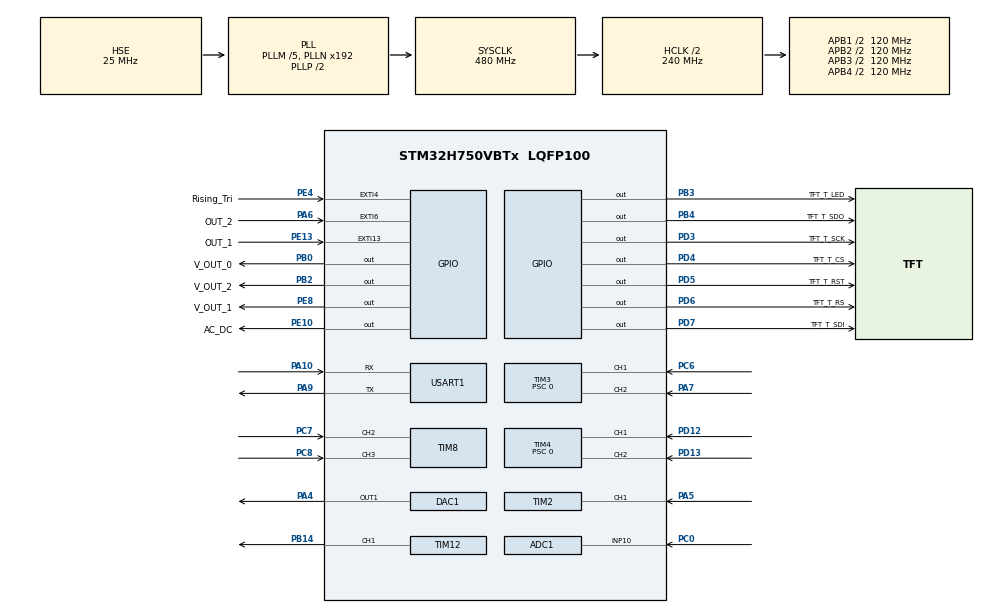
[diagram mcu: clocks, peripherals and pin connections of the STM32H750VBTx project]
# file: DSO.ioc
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ADC1.Channel-0\#ChannelRegularConversion=ADC_CHANNEL_10
ADC1.ClockPrescaler=ADC_CLOCK_ASYNC_DIV8
ADC1.ConversionDataManagement=ADC_CONVERSIONDATA_DMA_ONESHOT
ADC1.ExternalTrigConv=ADC_EXTERNALTRIG_T1_TRGO
ADC1.NbrOfConversionFlag=1
ADC1.OffsetNumber-0\#ChannelRegularConversion=ADC_OFFSET_NONE
ADC1.OffsetSignedSaturation-0\#ChannelRegularConversion=DISABLE
ADC1.Rank-0\#ChannelRegularConversion=1
ADC1.Resolution=ADC_RESOLUTION_14B
ADC1.SamplingTime-0\#ChannelRegularConversion=ADC_SAMPLETIME_8CYCLES_5
ADC1.master=1
CORTEX_M7.default_mode_Activation=1
DAC1.DAC1_OutputBuffer-DAC_OUT1=DAC_OUTPUTBUFFER_DISABLE
DAC1.DAC_Channel-DAC_OUT1=DAC_CHANNEL_1
DAC1.DAC_Trigger-DAC_OUT1=DAC_TRIGGER_NONE
Dma.ADC1.0.Direction=DMA_PERIPH_TO_MEMORY
Dma.ADC1.0.EventEnable=DISABLE
Dma.ADC1.0.FIFOMode=DMA_FIFOMODE_DISABLE
Dma.ADC1.0.Instance=DMA1_Stream1
Dma.ADC1.0.MemDataAlignment=DMA_MDATAALIGN_HALFWORD
Dma.ADC1.0.MemInc=DMA_MINC_ENABLE
Dma.ADC1.0.Mode=DMA_NORMAL
Dma.ADC1.0.PeriphDataAlignment=DMA_PDATAALIGN_HALFWORD
Dma.ADC1.0.PeriphInc=DMA_PINC_DISABLE
Dma.ADC1.0.Polarity=HAL_DMAMUX_REQ_GEN_RISING
Dma.ADC1.0.Priority=DMA_PRIORITY_LOW
Dma.ADC1.0.RequestNumber=1
Dma.ADC1.0.SignalID=NONE
Dma.ADC1.0.SyncEnable=DISABLE
Dma.ADC1.0.SyncPolarity=HAL_DMAMUX_SYNC_NO_EVENT
Dma.ADC1.0.SyncRequestNumber=1
Dma.ADC1.0.SyncSignalID=NONE
Dma.Request0=ADC1
Mcu.Family=STM32H7
Mcu.Name=STM32H750VBTx
Mcu.Package=LQFP100
NVIC.DMA1_Stream1_IRQn=true\:0\:0\:false\:false\:true\:false\:true\:true
NVIC.EXTI15_10_IRQn=true\:0\:0\:false\:false\:true\:true\:true\:true
NVIC.EXTI4_IRQn=true\:0\:0\:false\:false\:true\:true\:true\:true
NVIC.EXTI9_5_IRQn=true\:0\:0\:false\:false\:true\:true\:true\:true
NVIC.PriorityGroup=NVIC_PRIORITYGROUP_4
PA10.Mode=Asynchronous
PA10.Signal=USART1_RX
PA4.Signal=SharedAnalog_PA4
PA5.Signal=S_TIM2_CH1_ETR
PA6.GPIO_Label=OUT_2
PA6.GPIO_ModeDefaultEXTI=GPIO_MODE_IT_FALLING
PA6.GPIO_PuPd=GPIO_PULLUP
PA6.Signal=GPXTI6
PA7.GPIO_PuPd=GPIO_PULLUP
PA7.Signal=S_TIM3_CH2
PA9.Mode=Asynchronous
PA9.Signal=USART1_TX
PB0.GPIO_Label=V_OUT_0
PB0.GPIO_PuPd=GPIO_NOPULL
PB0.Signal=GPIO_Output
PB14.Signal=S_TIM12_CH1
PB2.GPIO_Label=V_OUT_2
PB2.Signal=GPIO_Output
PB3\ (JTDO/TRACESWO).GPIO_Label=TFT_T_LED
PB3\ (JTDO/TRACESWO).Signal=GPIO_Output
PB4\ (NJTRST).GPIO_Label=TFT_T_SDO
PB4\ (NJTRST).Signal=GPIO_Output
PC0.Signal=SharedAnalog_PC0
PC6.GPIO_PuPd=GPIO_PULLUP
PC6.Signal=S_TIM3_CH1
PC7.Signal=S_TIM8_CH2
PC8.Signal=S_TIM8_CH3
PD12.Signal=S_TIM4_CH1
PD13.Signal=S_TIM4_CH2
PD3.GPIO_Label=TFT_T_SCK
PD3.Signal=GPIO_Output
PD4.GPIO_Label=TFT_T_CS
PD4.Signal=GPIO_Output
PD5.GPIO_Label=TFT_T_RST
PD5.Signal=GPIO_Output
PD6.GPIO_Label=TFT_T_RS
PD6.Signal=GPIO_Output
PD7.GPIO_Label=TFT_T_SDI
PD7.Signal=GPIO_Output
PE10.GPIO_Label=AC_DC
PE10.Signal=GPIO_Output
PE13.GPIO_Label=OUT_1
PE13.GPIO_ModeDefaultEXTI=GPIO_MODE_IT_FALLING
PE13.GPIO_PuPd=GPIO_PULLUP
PE13.Signal=GPXTI13
PE4.GPIO_Label=Rising_Tri
PE4.GPIO_ModeDefaultEXTI=GPIO_MODE_IT_RISING
PE4.GPIO_PuPd=GPIO_PULLDOWN
PE4.Signal=GPXTI4
PE8.GPIO_Label=V_OUT_1
PE8.Signal=GPIO_Output
PH0-OSC_IN\ (PH0).Mode=HSE-External-Oscillator
PH0-OSC_IN\ (PH0).Signal=RCC_OSC_IN
PH1-OSC_OUT\ (PH1).Mode=HSE-External-Oscillator
PH1-OSC_OUT\ (PH1).Signal=RCC_OSC_OUT
ProjectManager.HeapSize=0x200
ProjectManager.StackSize=0x400
ProjectManager.TargetToolchain=MDK-ARM V5.32
RCC.ADCFreq_Value=36000000
RCC.APB1Freq_Value=120000000
RCC.APB2Freq_Value=120000000
RCC.APB3Freq_Value=120000000
RCC.APB4Freq_Value=120000000
RCC.CortexFreq_Value=480000000
RCC.D1PPRE=RCC_APB3_DIV2
RCC.D2PPRE1=RCC_APB1_DIV2
RCC.D2PPRE2=RCC_APB2_DIV2
RCC.D3PPRE=RCC_APB4_DIV2
RCC.DIVM1=5
RCC.DIVM2=5
RCC.DIVN1=192
RCC.DIVN2=72
RCC.DIVP2=10
RCC.DIVQ1=5
RCC.HCLKFreq_Value=240000000
RCC.HPRE=RCC_HCLK_DIV2
RCC.PLL2FRACN=0
RCC.PLL3FRACN=0
RCC.PLLFRACN=0
RCC.PLLSourceVirtual=RCC_PLLSOURCE_HSE
RCC.SYSCLKFreq_VALUE=480000000
RCC.SYSCLKSource=RCC_SYSCLKSOURCE_PLLCLK
RCC.USBFreq_Value=192000000
SH.S_TIM12_CH1.0=TIM12_CH1,PWM Generation1 CH1
SH.S_TIM2_CH1_ETR.0=TIM2_CH1,Input_Capture1_from_TI1
SH.S_TIM2_CH1_ETR.1=TIM2_CH1,TriggerSource_TI1FP1
SH.S_TIM3_CH1.0=TIM3_CH1,Encoder_Interface
SH.S_TIM3_CH2.0=TIM3_CH2,Encoder_Interface
SH.S_TIM4_CH1.0=TIM4_CH1,Encoder_Interface
SH.S_TIM4_CH2.0=TIM4_CH2,Encoder_Interface
SH.S_TIM8_CH2.0=TIM8_CH2,TriggerSource_TI2FP2
SH.S_TIM8_CH3.0=TIM8_CH3,Input_Capture3_from_TI3
SH.SharedAnalog_PA4.0=GPIO_Analog
SH.SharedAnalog_PA4.1=DAC1_OUT1,DAC_OUT1
SH.SharedAnalog_PC0.0=GPIO_Analog
SH.SharedAnalog_PC0.1=ADC1_INP10,IN10-Single-Ended
TIM1.AutoReloadPreload=TIM_AUTORELOAD_PRELOAD_ENABLE
TIM1.Period=10-1
TIM1.Prescaler=240-1
TIM1.TIM_MasterOutputTrigger=TIM_TRGO_UPDATE
TIM12.AutoReloadPreload=TIM_AUTORELOAD_PRELOAD_ENABLE
TIM12.Channel-PWM\ Generation1\ CH1=TIM_CHANNEL_1
TIM12.Period=1000-1
TIM12.Prescaler=240-1
TIM12.Pulse-PWM\ Generation1\ CH1=500
TIM12.TIM_MasterOutputTrigger=TIM_TRGO_UPDATE
TIM2.AutoReloadPreload=TIM_AUTORELOAD_PRELOAD_ENABLE
TIM2.Channel-Input_Capture1_from_TI1=TIM_CHANNEL_1
TIM2.ICFilter_CH1=10
TIM2.Prescaler=240-1
TIM3.EncoderMode=TIM_ENCODERMODE_TI12
TIM3.IC1Filter=6
TIM3.Period=65535
TIM3.Prescaler=0
TIM4.AutoReloadPreload=TIM_AUTORELOAD_PRELOAD_DISABLE
TIM4.EncoderMode=TIM_ENCODERMODE_TI12
TIM4.IC1Filter=6
TIM4.Period=65535
TIM4.Prescaler=0
TIM4.TIM_MasterOutputTrigger=TIM_TRGO_RESET
TIM8.Channel-Input_Capture3_from_TI3=TIM_CHANNEL_3
USART1.VirtualMode-Asynchronous=VM_ASYNC
VP_MEMORYMAP_VS_MEMORYMAP.Mode=CurAppReg
VP_TIM1_VS_ClockSourceINT.Mode=Internal
VP_TIM2_VS_ClockSourceINT.Mode=Internal
VP_TIM2_VS_ControllerModeReset.Mode=Reset Mode
VP_TIM8_VS_ControllerModeClock.Mode=Clock Mode
board=custom

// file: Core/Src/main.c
/* USER CODE BEGIN Header */
/**
  ******************************************************************************
  * @file           : main.c
  * @brief          : Main program body
  ******************************************************************************
  * @attention
  *
  * Copyright (c) 2026 STMicroelectronics.
  * All rights reserved.
  *
  * This software is licensed under terms that can be found in the LICENSE file
  * in the root directory of this software component.
  * If no LICENSE file comes with this software, it is provided AS-IS.
  *
  ******************************************************************************
  */
/* USER CODE END Header */
#include "main.h"
#include "adc.h"
#include "dac.h"
#include "dma.h"
#include "tim.h"
#include "usart.h"
#include "gpio.h"

/* USER CODE BEGIN Includes */
#include "Basic.h"
#include"ili9341_driver.h"
#include "arm_math.h"

/* USER CODE END Includes */

void SystemClock_Config(void);
static void MPU_Config(void);

int main(void)
{

  /* MPU Configuration--------------------------------------------------------*/
  MPU_Config();

  /* MCU Configuration--------------------------------------------------------*/

  /* Reset of all peripherals, Initializes the Flash interface and the Systick. */
  HAL_Init();

  /* Configure the system clock */
  SystemClock_Config();

  /* Initialize all configured peripherals */
  MX_GPIO_Init();
  MX_DMA_Init();
  MX_TIM2_Init();
  MX_DAC1_Init();
  MX_TIM3_Init();
  MX_TIM4_Init();
  MX_USART1_UART_Init();
  MX_TIM12_Init();
  MX_ADC1_Init();
  MX_TIM1_Init();
  MX_TIM8_Init();
  /* USER CODE BEGIN 2 */
  /*旋转编码器*/
HAL_TIM_Encoder_Start(&htim3,TIM_CHANNEL_ALL);
HAL_TIM_Encoder_Start(&htim4,TIM_CHANNEL_ALL);
/*初始化触发电平*/
HAL_DAC_Start(&hdac1,DAC_CHANNEL_1);
HAL_DAC_SetValue(&hdac1, DAC_CHANNEL_1, DAC_ALIGN_12B_R,2100);
HAL_GPIO_WritePin(AC_DC_GPIO_Port, AC_DC_Pin, GPIO_PIN_RESET);
HAL_ADCEx_Calibration_Start(&hadc1, ADC_CALIB_OFFSET, ADC_SINGLE_ENDED);
ILI9341_init(BLACK);
  Draw_Line();
  Show_Data();

   //HAL_TIM_PWM_Start(&htim12,TIM_CHANNEL_1);

  Chose_Grain(0);

  FFT_Init();
	  Freq_Capture_Init();
  /* USER CODE END 2 */

  /* Infinite loop */
  /* USER CODE BEGIN WHILE */
  while (1)
  {
    Menu_EncoderA_Scan();
    Menu_EncoderB();

       EncoderB_Press();
    if(trigger_correct)
    {trigger_correct=0;
      Correct_Process();
      }
    if(trigger_fft)
    {trigger_fft=0;
      FFT_Process();
      }
    {static uint32_t last_adc_t = 0;      /* auto-trigger: 上次ADC完成时刻 */
    if(ADC_flag)
    {ADC_flag=0;
      ADC_Project();
      last_adc_t = HAL_GetTick();
      } /* ADC采集完成标志位, 处理并显示数据 */

    /* auto-trigger: 无外部触发超过200ms自动启动采集 */
     if(!Single_Trig_flag && !adc_owner
        && (EXTI_D1->IMR1 & (1UL << 4))     /* EXTI已使能=等待触发 */
        && HAL_GetTick() - last_adc_t > 200) {
         EXTI_D1->IMR1 &= ~(1UL << 4);       /* 失能防重入 */
         HAL_ADC_Start_DMA(&hadc1, (uint32_t*)adc_buffer, Sample_Point);
         HAL_TIM_Base_Start(&htim1);
         Single_Trig_flag = 1;
     }}

    /* 实时测频: 200ms刷新, 轻量无阻塞 */
    {static uint32_t last_meas_t = 0;
     static float last_FREQ = 0.0f;
     uint32_t now = HAL_GetTick();
     if(now - last_meas_t >= 200) {
         last_meas_t = now;
         /* ── 频率 ── */
         float f = Freq_Capture_Get();
         if(f > 0.001f && fabsf(f - last_FREQ) > 0.05f) {
             last_FREQ = f;
             FREQ = f;
             sprintf(line2, " %.1fkHz", FREQ);
             ILI9341_draw_string(rectangle_Left+2, 44, line2, BLACK);
             ILI9341_draw_string(rectangle_Left+2, 44, line2, GRED);
         }

     }
    }

    /* USER CODE END WHILE */

  }
}

void SystemClock_Config(void)
{
  RCC_OscInitTypeDef RCC_OscInitStruct = {0};
  RCC_ClkInitTypeDef RCC_ClkInitStruct = {0};

  /** Supply configuration update enable
  */
  HAL_PWREx_ConfigSupply(PWR_LDO_SUPPLY);

  /** Configure the main internal regulator output voltage
  */
  __HAL_PWR_VOLTAGESCALING_CONFIG(PWR_REGULATOR_VOLTAGE_SCALE0);

  while(!__HAL_PWR_GET_FLAG(PWR_FLAG_VOSRDY)) {}

  /** Initializes the RCC Oscillators according to the specified parameters
  * in the RCC_OscInitTypeDef structure.
  */
  RCC_OscInitStruct.OscillatorType = RCC_OSCILLATORTYPE_HSE;
  RCC_OscInitStruct.HSEState = RCC_HSE_ON;
  RCC_OscInitStruct.PLL.PLLState = RCC_PLL_ON;
  RCC_OscInitStruct.PLL.PLLSource = RCC_PLLSOURCE_HSE;
  RCC_OscInitStruct.PLL.PLLM = 5;
  RCC_OscInitStruct.PLL.PLLN = 192;
  RCC_OscInitStruct.PLL.PLLP = 2;
  RCC_OscInitStruct.PLL.PLLQ = 5;
  RCC_OscInitStruct.PLL.PLLR = 2;
  RCC_OscInitStruct.PLL.PLLRGE = RCC_PLL1VCIRANGE_2;
  RCC_OscInitStruct.PLL.PLLVCOSEL = RCC_PLL1VCOWIDE;
  RCC_OscInitStruct.PLL.PLLFRACN = 0;
  if (HAL_RCC_OscConfig(&RCC_OscInitStruct) != HAL_OK)
  {
    Error_Handler();
  }

  /** Initializes the CPU, AHB and APB buses clocks
  */
  RCC_ClkInitStruct.ClockType = RCC_CLOCKTYPE_HCLK|RCC_CLOCKTYPE_SYSCLK
                              |RCC_CLOCKTYPE_PCLK1|RCC_CLOCKTYPE_PCLK2
                              |RCC_CLOCKTYPE_D3PCLK1|RCC_CLOCKTYPE_D1PCLK1;
  RCC_ClkInitStruct.SYSCLKSource = RCC_SYSCLKSOURCE_PLLCLK;
  RCC_ClkInitStruct.SYSCLKDivider = RCC_SYSCLK_DIV1;
  RCC_ClkInitStruct.AHBCLKDivider = RCC_HCLK_DIV2;
  RCC_ClkInitStruct.APB3CLKDivider = RCC_APB3_DIV2;
  RCC_ClkInitStruct.APB1CLKDivider = RCC_APB1_DIV2;
  RCC_ClkInitStruct.APB2CLKDivider = RCC_APB2_DIV2;
  RCC_ClkInitStruct.APB4CLKDivider = RCC_APB4_DIV2;

  if (HAL_RCC_ClockConfig(&RCC_ClkInitStruct, FLASH_LATENCY_4) != HAL_OK)
  {
    Error_Handler();
  }
}

 /* MPU Configuration */

void MPU_Config(void)
{
  MPU_Region_InitTypeDef MPU_InitStruct = {0};

  /* Disables the MPU */
  HAL_MPU_Disable();

  /** Initializes and configures the Region and the memory to be protected
  */
  MPU_InitStruct.Enable = MPU_REGION_ENABLE;
  MPU_InitStruct.Number = MPU_REGION_NUMBER0;
  MPU_InitStruct.BaseAddress = 0x0;
  MPU_InitStruct.Size = MPU_REGION_SIZE_4GB;
  MPU_InitStruct.SubRegionDisable = 0x87;
  MPU_InitStruct.TypeExtField = MPU_TEX_LEVEL0;
  MPU_InitStruct.AccessPermission = MPU_REGION_NO_ACCESS;
  MPU_InitStruct.DisableExec = MPU_INSTRUCTION_ACCESS_DISABLE;
  MPU_InitStruct.IsShareable = MPU_ACCESS_SHAREABLE;
  MPU_InitStruct.IsCacheable = MPU_ACCESS_NOT_CACHEABLE;
  MPU_InitStruct.IsBufferable = MPU_ACCESS_NOT_BUFFERABLE;

  HAL_MPU_ConfigRegion(&MPU_InitStruct);
  /* Enables the MPU */
  HAL_MPU_Enable(MPU_PRIVILEGED_DEFAULT);

}

void Error_Handler(void)
{
  __disable_irq();
  while (1)
  {
  }
}
